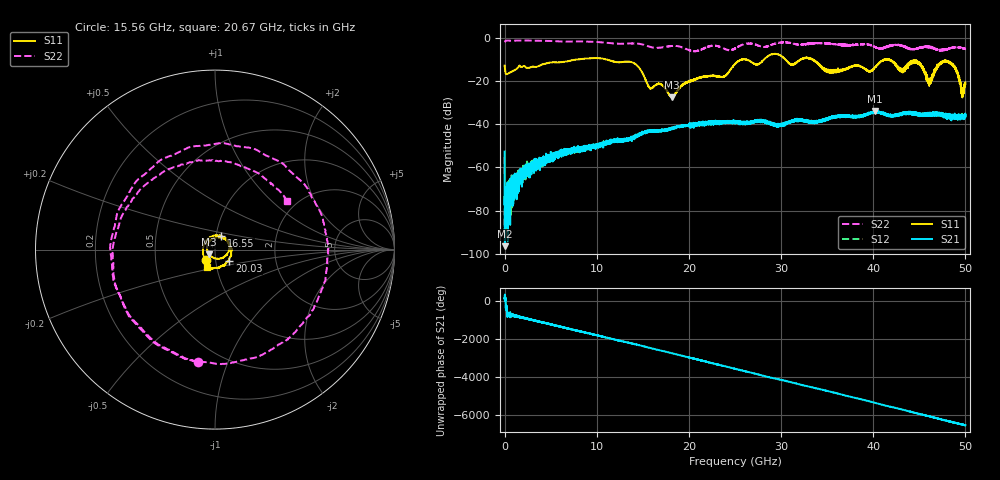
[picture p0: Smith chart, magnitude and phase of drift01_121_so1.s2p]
!Created with skrf (http://scikit-rf.org).
# Hz S RI R 50.0
!freq ReS11 ImS11 ReS21 ImS21 ReS12 ImS12 ReS22 ImS22
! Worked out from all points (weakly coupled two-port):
!   10001 points, 300 kHz to 50 GHz, reference 50 ohm
!   highest |S21| = -33.93 dB at 40.22 GHz (marker M1); lowest = -96.4 dB at 30.3 MHz (marker M2)
!   lowest |S11| = -27.7 dB at 18.12 GHz (marker M3), VSWR 1.09, Z = 46.8 - j2.35 ohm
!   |S11| at or under -10 dB: 10.91 GHz to 26 GHz (15.09 GHz wide, 81.7 % of centre); 33.39 GHz to 41.54 GHz (8.154 GHz wide, 21.8 % of centre); 41.57 GHz to end of sweep (the widest 3 of 16)
!   |S22| runs from -6.4 to -1.4 dB; largest |S21 - S12| = 0.0041
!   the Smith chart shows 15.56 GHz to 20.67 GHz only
!   S11 on the Smith chart (normalised r, x): 15.56 GHz: 0.89, -0.11; 16.55 GHz: 1.06, +0.16; 20.03 GHz: 1.16, -0.15; 20.67 GHz: 0.89, -0.18
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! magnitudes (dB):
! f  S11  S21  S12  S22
! 300 kHz  -13.0  -52.7  -55.2  -2.1
! 30.3 MHz  -14.1  -96.4  -84.8  -1.8
! 305.3 MHz  -16.8  -70.0  -73.7  -1.4
! 2.96 GHz  -13.6  -60.0  -59.6  -1.4
! 8.335 GHz  -9.9  -51.5  -51.0  -1.8
! 13.86 GHz  -11.5  -46.7  -46.2  -2.7
! 15.56 GHz  -22.0  -43.4  -43.3  -4.0
! 16.55 GHz  -21.5  -43.3  -43.0  -4.7
! 16.67 GHz  -21.3  -43.2  -43.1  -4.8
! 18.12 GHz  -27.7  -42.0  -41.9  -3.9
! 20.03 GHz  -19.9  -40.0  -40.7  -5.9
! 20.67 GHz  -19.2  -40.6  -39.7  -6.3
! 25 GHz  -12.2  -38.5  -39.0  -5.1
! 33.34 GHz  -10.0  -39.1  -39.0  -2.7
! 35.14 GHz  -16.0  -37.8  -37.2  -2.8
! 40.22 GHz  -13.8  -33.9  -34.6  -4.4
! 41.67 GHz  -10.2  -35.8  -35.8  -4.2
! 43.06 GHz  -15.4  -35.2  -35.2  -3.7
! 44.81 GHz  -11.4  -35.2  -35.6  -4.9
! 46.11 GHz  -20.0  -35.7  -35.7  -4.6
! 48.07 GHz  -11.1  -36.6  -36.0  -5.1
! 50 GHz  -21.4  -35.9  -35.8  -5.3
